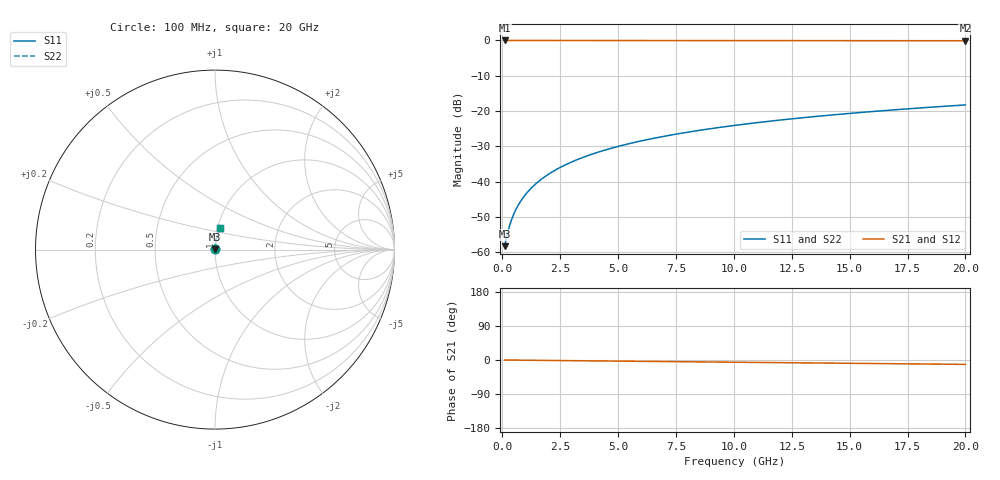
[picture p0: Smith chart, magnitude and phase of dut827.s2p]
! Touchstone file exported from HFSS 2026.1.0
!  File:  C:/ffzhzh/LocalFiles/Ansys_Project_Files/temp_train_BSMRDL_827_1783170153_22436.aedt
!  Generated:  09:03:54 PM Jul  4, 2026
!  Design:  BSMRDL
!  Project:  temp_train_BSMRDL_827_1783170153_22436
! Variables:
!  h_bsmrdl = 2.79um
!  h_ox = 20um
!  h_rdl = 5um
!  h_sub = 80um
!  h_tmrdl = 5um
!  h_tsv = 80um
!  h_via = 3um
!  l_bsmrdl = 126.01um
!  l_sub = 526.01um
!  l_tmrdl = 200um
!  m_sub = 200um
!  pitch = 47.04um
!  r_tsv = 6um
!  s_tmrdl = 10um
!  w_bsmrdl = 22.54um
!  w_sub = 500um
!  w_tmrdl = 12um
!  x_tsv_center1 = 206um
!  x_tsv_center2 = 354.55um
!  x_tsv_center3 = 566.55um
!  x_tsv_center4 = 715.1um
!  x_tsv_center5 = 927.1um
!  x_tsv_center6 = 1075.65um
# GHz S MA R 50.000000
! Terminal data exported
! Port[1] = BSM_RDL1_1_T1
! Port[2] = BSM_RDL1_1_T2
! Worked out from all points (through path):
!   200 points, 100 MHz to 20 GHz, reference 50 ohm
!   highest |S21| = -0.01 dB at 100 MHz (marker M1); lowest = -0.1 dB at 20 GHz (marker M2)
!   group delay of S21, straight-line fit = 1.6 ps
!   lowest |S11| = -58.2 dB at 100 MHz (marker M3), VSWR 1.00, Z = 50.1 + j0.0692 ohm
!   |S11| at or under -10 dB: start of sweep to end of sweep
!   |S22| runs from -58.2 to -18.2 dB; largest |S21 - S12| = 3.2e-15
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0.1  0.001227 34.3  0.999 -0.1  0.999 -0.1  0.001227 34.3
! Gamma 0 0 0 0
! Port Impedance 50 0 50 0
0.2  0.001724 52.6  0.999 -0.1  0.999 -0.1  0.001724 52.6
0.3  0.002305 61.8  0.9989 -0.2  0.9989 -0.2  0.002305 61.8
0.4  0.002909 67.1  0.9989 -0.2  0.9989 -0.2  0.002909 67.1
0.5  0.003517 70.5  0.9988 -0.3  0.9988 -0.3  0.003517 70.5
0.6  0.004127 73.0  0.9988 -0.4  0.9988 -0.4  0.004127 73.0
0.8  0.005351 76.3  0.9988 -0.5  0.9988 -0.5  0.005351 76.3
1.1  0.007201 79.2  0.9987 -0.7  0.9987 -0.7  0.007201 79.2
1.3  0.008441 80.4  0.9987 -0.8  0.9987 -0.8  0.008441 80.4
1.6  0.01031 81.7  0.9986 -0.9  0.9986 -0.9  0.01031 81.7
2.1  0.01344 83.0  0.9986 -1.2  0.9986 -1.2  0.01344 83.0
2.7  0.01721 83.8  0.9985 -1.6  0.9985 -1.6  0.01721 83.8
3.5  0.02223 84.2  0.9983 -2.1  0.9983 -2.1  0.02223 84.2
4.2  0.02662 84.2  0.9981 -2.5  0.9981 -2.5  0.02662 84.2
5  0.03163 84.1  0.9979 -2.9  0.9979 -2.9  0.03163 84.1
5.9  0.03725 83.9  0.9976 -3.5  0.9976 -3.5  0.03725 83.9
6.8  0.04284 83.5  0.9972 -4.0  0.9972 -4.0  0.04284 83.5
8.3  0.05212 82.9  0.9966 -4.9  0.9966 -4.9  0.05212 82.9
10.1  0.06316 82.0  0.9957 -5.9  0.9957 -5.9  0.06316 82.0
13.4  0.08318 80.3  0.9938 -7.8  0.9938 -7.8  0.08318 80.3
16.7  0.1029 78.6  0.9915 -9.7  0.9915 -9.7  0.1029 78.6
20  0.1223 76.8  0.989 -11.5  0.989 -11.5  0.1223 76.8
